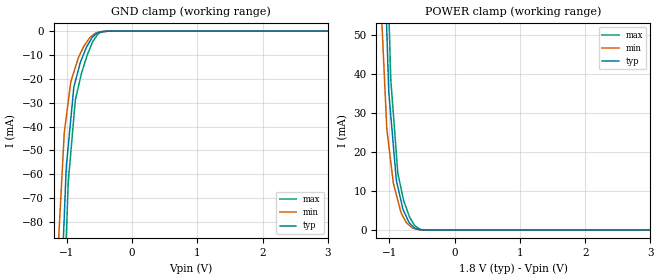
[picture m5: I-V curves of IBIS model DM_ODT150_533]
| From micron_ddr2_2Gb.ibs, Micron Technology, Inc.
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|   MODEL DM_ODT150_533 (DM Input model with 150 Ohm ODT Submodel)
[Model]   DM_ODT150_533
Model_type   Input
Vinl = 650.000mV
Vinh = 1.150V
|   typ   min   max
C_comp   2.930pF   2.691pF   3.156pF
| Note: C_comp increases when the ODT circuit is enabled.
[Model Spec]
| Input threshold voltage corners
Vinl   0.650V   0.600V   0.700V
Vinh   1.150V   1.100V   1.200V
[Receiver Thresholds]
Vth   =  0.900V
Vth_min  =  0.882V
Vth_max  =  0.918V
Vinh_ac  =  0.250V
Vinh_dc  =  0.125V
Vinl_ac  = -0.250V
Vinl_dc  = -0.125V
Tslew_ac =  5.000ns |Not specified, so set to high value
Threshold_sensitivity = 0.50
Reference_supply Pullup_ref
[Voltage Range]   1.800V   1.700V   1.900V
[Pullup Reference]   1.800V   1.700V   1.900V
| Junction Temperature (Ambient temp is 25C typ, 85C min, 0C max)
[Temperature Range]   40.0   100.0   0.0
[Add Submodel]
| Submodel Name   Mode
150ohm_ODT_533   Non-Driving
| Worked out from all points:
|   GND clamp passes 1 mA (typ) near -0.54 V on its own axis
|   POWER clamp passes 1 mA (typ) near -0.64 V on its own axis
[GND Clamp]
|   Voltage   I(typ)   I(min)   I(max)
-1.8V     -760.2mA   -639.4mA   -858.5mA
-1.135V   -142mA     -91.44mA   -181.1mA
-1.04V    -77.7mA    -42.64mA   -109.4mA
-1.01V    -57.4mA    -36.14mA   -86.74mA
-1.005V   -55.74mA   -35.08mA   -82.96mA
-975mV    -47.05mA   -28.71mA   -62.08mA
-940mV    -36.9mA    -21.29mA   -50.94mA
-895mV    -23.86mA   -17.33mA   -36.61mA
-870mV    -21.01mA   -15.16mA   -28.83mA
-700mV    -6.769mA   -4.783mA   -11.03mA
-560mV    -1.408mA   -820.9uA   -2.629mA
3.6V      0A         0A         0A
[POWER Clamp]
|   Voltage   I(typ)   I(min)   I(max)
-1.8V     607.7mA    524.8mA    658.9mA
-1.135V   101mA      60.68mA    129.7mA
-1.04V    51.41mA    26.15mA    74.28mA
-1.005V   34.6mA     21.18mA    53.87mA
-975mV    28.72mA    16.99mA    37.84mA
-940mV    21.86mA    12.11mA    30.02mA
-895mV    13.05mA    9.177mA    19.98mA
-870mV    11.02mA    7.572mA    14.52mA
-790mV    5.236mA    3.436mA    8.224mA
-645mV    1.023mA    473.7uA    2.044mA
-410mV    1.804uA    5.5uA      3.722uA
3.6V      0A         0A         0A
